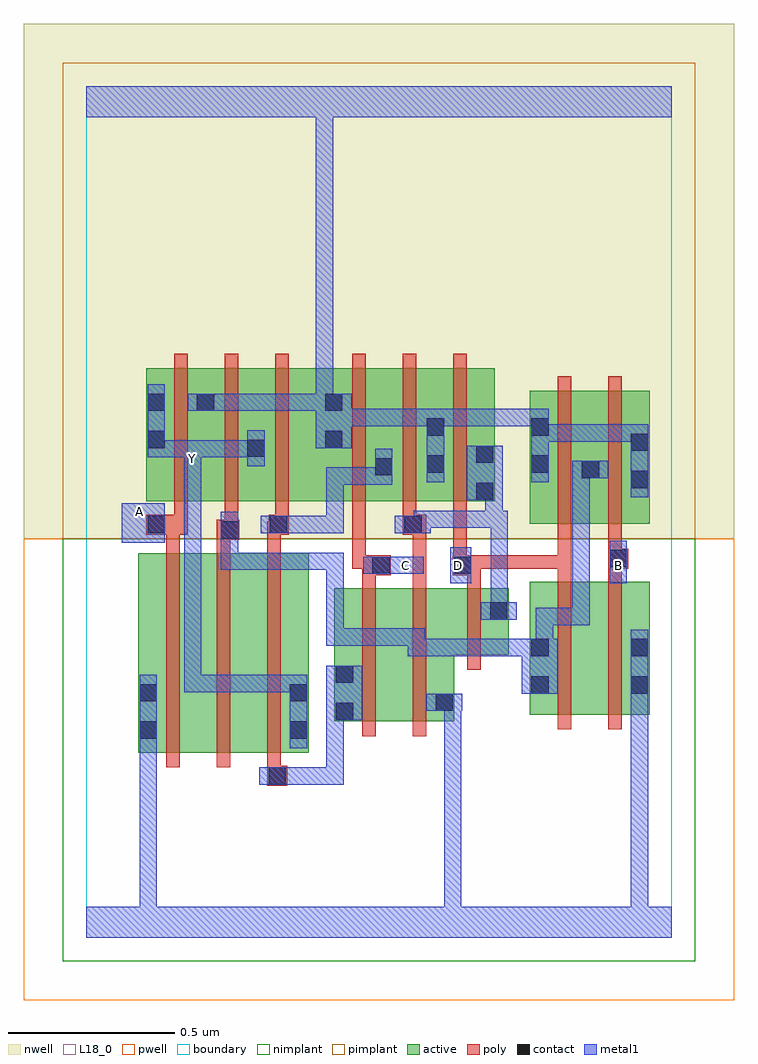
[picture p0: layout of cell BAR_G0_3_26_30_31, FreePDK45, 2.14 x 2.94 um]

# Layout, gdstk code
import gdstk
lib = gdstk.Library(unit=1e-6, precision=1e-09)
def R(c, l, rs):  # rectangles x0, y0, x1, y1
    for r in rs: c.add(gdstk.rectangle(r[:2], r[2:], *l))
def A(c, l, x, y, w, h, nx, ny, dx, dy):  # array of equal rectangles
    R(c, l, [(x+i*dx, y+j*dy, x+i*dx+w, y+j*dy+h) for i in range(nx) for j in range(ny)])
active = (1, 0)
pwell = (2, 0)
nwell = (3, 0)
nimplant = (4, 0)
pimplant = (5, 0)
poly = (9, 0)
contact = (10, 0)
metal1 = (11, 0)
L18_0 = (18, 0)
boundary = (235, 0)

bar_g0_3_26_30_31 = lib.new_cell('BAR_G0_3_26_30_31')
R(bar_g0_3_26_30_31, active, [(0.156,0.556,0.216,1.156), (0.156,0.556,0.336,1.156), (0.336,0.556,0.488,1.156), (0.488,0.556,0.668,1.156), (0.608,0.556,0.668,1.156), (0.746,0.65,0.806,1.05), (0.746,0.65,0.926,1.05), (0.926,0.65,1.106,1.05), (1.046,0.65,1.106,0.956), (1.334,0.67,1.394,1.07), (1.334,0.67,1.514,1.07), (1.514,0.67,1.694,1.07), (1.634,0.67,1.694,1.07), (1.046,0.85,1.27,1.05), (1.21,0.87,1.27,1.05), (1.334,1.244,1.394,1.644), (1.334,1.244,1.546,1.644), (1.486,1.244,1.546,1.644), (1.486,1.244,1.694,1.644), (1.634,1.244,1.694,1.644), (0.18,1.312,0.388,1.712), (0.18,1.312,0.24,1.644), (0.328,1.312,0.54,1.712), (0.48,1.312,0.54,1.644), (0.48,1.312,0.774,1.712), (0.714,1.312,0.924,1.712), (0.864,1.312,1.08,1.712), (1.02,1.312,1.228,1.712), (1.168,1.312,1.228,1.644), (0.864,1.338,0.924,1.644), (1.02,1.338,1.08,1.644), (0.328,1.344,0.388,1.644), (0.714,1.344,0.774,1.696)])
R(bar_g0_3_26_30_31, pwell, [(-0.188,-0.188,1.948,1.2)])
R(bar_g0_3_26_30_31, nwell, [(-0.188,1.2,1.948,2.748)])
R(bar_g0_3_26_30_31, nimplant, [(-0.072,-0.072,1.832,1.2)])
R(bar_g0_3_26_30_31, pimplant, [(-0.072,1.2,1.832,2.632)])
A(bar_g0_3_26_30_31, poly, 0.24, 0.512, 0.04, 0.688, 3, 1, 0.152, 0)
A(bar_g0_3_26_30_31, poly, 0.264, 1.268, 0.04, 0.488, 3, 1, 0.152, 0)
A(bar_g0_3_26_30_31, poly, 0.8, 1.268, 0.04, 0.488, 3, 1, 0.152, 0)
R(bar_g0_3_26_30_31, poly, [(0.544,0.456,0.604,0.516), (0.544,0.476,0.584,0.552), (0.83,0.606,0.87,1.094), (0.982,0.606,1.022,1.094), (1.418,0.626,1.458,1.114), (1.57,0.626,1.61,1.114), (1.146,0.806,1.186,1.094), (0.83,1.054,0.87,1.13), (0.982,1.054,1.022,1.252), (1.146,1.054,1.186,1.13), (1.418,1.074,1.458,1.15), (1.57,1.074,1.61,1.15), (0.83,1.09,0.916,1.15), (1.102,1.09,1.186,1.15), (0.8,1.11,0.84,1.308), (0.8,1.11,0.87,1.15), (0.83,1.11,0.87,1.15), (1.104,1.11,1.144,1.15), (1.104,1.11,1.144,1.15), (1.104,1.11,1.144,1.308), (1.146,1.11,1.186,1.15), (1.146,1.11,1.186,1.15), (1.146,1.11,1.458,1.15), (1.418,1.11,1.458,1.15), (1.418,1.11,1.458,1.15), (1.418,1.11,1.458,1.15), (1.418,1.11,1.458,1.15), (1.418,1.11,1.458,1.15), (1.418,1.11,1.458,1.24), (1.57,1.11,1.61,1.15), (1.57,1.11,1.61,1.15), (1.57,1.11,1.63,1.17), (1.57,1.13,1.61,1.24), (0.24,1.16,0.28,1.252), (0.392,1.16,0.432,1.236), (0.544,1.16,0.584,1.252), (0.392,1.196,0.46,1.256), (1.418,1.2,1.458,1.688), (1.57,1.2,1.61,1.688), (0.18,1.212,0.304,1.272), (0.24,1.212,0.28,1.252), (0.24,1.212,0.28,1.252), (0.544,1.212,0.588,1.252), (0.548,1.212,0.588,1.252), (0.548,1.212,0.608,1.272), (0.952,1.212,1.022,1.272), (0.982,1.212,1.022,1.252), (0.982,1.212,1.022,1.252), (0.416,1.216,0.456,1.256), (0.416,1.216,0.456,1.256), (0.416,1.216,0.456,1.308), (0.264,1.232,0.304,1.308), (0.568,1.232,0.608,1.308), (0.952,1.232,0.992,1.308)])
R(bar_g0_3_26_30_31, contact, [(0.548,0.46,0.6,0.512), (0.16,0.598,0.212,0.65), (0.612,0.598,0.664,0.65), (0.75,0.654,0.802,0.706), (1.05,0.682,1.102,0.734), (0.16,0.71,0.212,0.762), (0.612,0.71,0.664,0.762), (1.338,0.734,1.39,0.786), (1.638,0.734,1.69,0.786), (0.75,0.766,0.802,0.818), (1.338,0.846,1.39,0.898), (1.638,0.846,1.69,0.898), (1.214,0.956,1.266,1.008), (0.86,1.094,0.912,1.146), (1.106,1.094,1.158,1.146), (1.574,1.114,1.626,1.166), (0.404,1.2,0.456,1.252), (0.184,1.216,0.236,1.268), (0.552,1.216,0.604,1.268), (0.956,1.216,1.008,1.268), (1.172,1.316,1.224,1.368), (1.638,1.352,1.69,1.404), (1.49,1.382,1.542,1.434), (0.868,1.39,0.92,1.442), (1.024,1.398,1.076,1.45), (1.338,1.398,1.39,1.45), (1.172,1.428,1.224,1.48), (0.484,1.446,0.536,1.498), (1.638,1.464,1.69,1.516), (0.184,1.472,0.236,1.524), (0.718,1.472,0.77,1.524), (1.024,1.51,1.076,1.562), (1.338,1.51,1.39,1.562), (0.184,1.584,0.236,1.636), (0.332,1.584,0.384,1.636), (0.718,1.584,0.77,1.636)])
A(bar_g0_3_26_30_31, metal1, 0.36, 1.584, 0.052, 0.052, 3, 1, 0.11, 0)
A(bar_g0_3_26_30_31, metal1, 0.36, 1.584, 0.162, 0.052, 3, 1, 0.11, 0)
R(bar_g0_3_26_30_31, metal1, [(0,0,1.76,0.092), (0.16,0.04,0.212,0.092), (0.16,0.04,0.212,0.092), (0.16,0.04,0.212,0.622), (1.076,0.04,1.128,0.092), (1.076,0.04,1.128,0.092), (1.076,0.04,1.128,0.092), (1.076,0.04,1.128,0.092), (1.076,0.04,1.128,0.092), (1.076,0.04,1.128,0.092), (1.076,0.04,1.128,0.092), (1.076,0.04,1.128,0.092), (1.076,0.04,1.128,0.092), (1.076,0.04,1.128,0.092), (1.076,0.04,1.128,0.734), (1.638,0.04,1.69,0.092), (1.638,0.04,1.69,0.092), (1.638,0.04,1.69,0.092), (1.638,0.04,1.69,0.092), (1.638,0.04,1.69,0.758), (0.52,0.46,0.628,0.512), (0.576,0.46,0.632,0.512), (0.58,0.46,0.632,0.512), (0.58,0.46,0.774,0.512), (0.722,0.46,0.774,0.512), (0.722,0.46,0.774,0.512), (0.722,0.46,0.774,0.512), (0.722,0.46,0.774,0.512), (0.722,0.46,0.774,0.512), (0.722,0.46,0.774,0.706), (0.16,0.57,0.212,0.622), (0.16,0.57,0.212,0.622), (0.16,0.57,0.212,0.622), (0.16,0.57,0.212,0.622), (0.16,0.57,0.212,0.622), (0.16,0.57,0.212,0.622), (0.16,0.57,0.212,0.79), (0.612,0.57,0.664,0.79), (0.722,0.654,0.83,0.818), (1.022,0.682,1.13,0.734), (1.076,0.682,1.128,0.734), (1.076,0.682,1.128,0.734), (1.638,0.706,1.69,0.758), (1.638,0.706,1.69,0.758), (1.638,0.706,1.69,0.758), (1.638,0.706,1.69,0.758), (1.638,0.706,1.69,0.758), (1.638,0.706,1.69,0.758), (1.638,0.706,1.69,0.758), (1.638,0.706,1.69,0.758), (1.638,0.706,1.69,0.926), (1.31,0.734,1.418,0.898), (0.294,0.738,0.346,0.79), (0.294,0.738,0.346,0.79), (0.294,0.738,0.346,0.79), (0.294,0.738,0.522,0.79), (0.294,0.738,0.346,1.438), (0.47,0.738,0.522,0.79), (0.47,0.738,0.566,0.79), (0.514,0.738,0.566,0.79), (0.514,0.738,0.664,0.79), (0.966,0.846,1.018,0.898), (0.966,0.846,1.238,0.898), (0.966,0.846,1.018,0.93), (1.186,0.846,1.238,0.898), (1.186,0.846,1.238,0.898), (1.186,0.846,1.238,0.898), (1.186,0.846,1.362,0.898), (1.352,0.846,1.404,0.898), (1.352,0.846,1.404,0.898), (1.352,0.846,1.404,0.992), (0.722,0.878,0.774,0.93), (0.722,0.878,0.774,0.93), (0.722,0.878,0.774,0.93), (0.722,0.878,0.908,0.93), (0.722,0.878,0.774,1.158), (0.856,0.878,0.908,0.93), (0.856,0.878,1.018,0.93), (0.966,0.878,1.018,0.93), (0.966,0.878,1.018,0.93), (0.966,0.878,1.018,0.93), (1.352,0.94,1.404,0.992), (1.352,0.94,1.404,0.992), (1.352,0.94,1.404,0.992), (1.352,0.94,1.404,0.992), (1.352,0.94,1.404,0.992), (1.352,0.94,1.514,0.992), (1.462,0.94,1.514,0.992), (1.462,0.94,1.514,1.434), (1.186,0.956,1.294,1.008), (1.216,0.956,1.268,1.284), (1.094,1.066,1.158,1.174), (1.574,1.066,1.626,1.194), (0.832,1.094,1.014,1.146), (0.404,1.106,0.522,1.158), (0.404,1.106,0.456,1.28), (0.47,1.106,0.522,1.158), (0.47,1.106,0.632,1.158), (0.58,1.106,0.632,1.158), (0.58,1.106,0.632,1.158), (0.58,1.106,0.632,1.158), (0.58,1.106,0.774,1.158), (0.722,1.106,0.774,1.158), (0.106,1.188,0.236,1.306), (0.524,1.216,0.632,1.268), (0.58,1.216,0.632,1.268), (0.58,1.216,0.632,1.268), (0.58,1.216,0.774,1.268), (0.722,1.216,0.774,1.268), (0.722,1.216,0.774,1.414), (0.928,1.216,1.036,1.268), (0.984,1.216,1.036,1.268), (0.984,1.216,1.036,1.284), (0.984,1.232,1.252,1.284), (1.2,1.232,1.252,1.284), (1.2,1.232,1.252,1.284), (1.2,1.232,1.252,1.368), (1.2,1.232,1.268,1.284), (1.216,1.232,1.268,1.284), (1.216,1.232,1.268,1.284), (1.144,1.316,1.252,1.48), (1.638,1.324,1.69,1.544), (0.722,1.362,0.774,1.414), (0.722,1.362,0.774,1.414), (0.722,1.362,0.774,1.414), (0.722,1.362,0.92,1.414), (0.868,1.362,0.92,1.47), (1.024,1.37,1.076,1.59), (1.338,1.37,1.39,1.59), (1.462,1.382,1.57,1.434), (0.294,1.386,0.346,1.494), (0.484,1.418,0.536,1.526), (0.294,1.442,0.346,1.494), (0.294,1.442,0.346,1.494), (0.294,1.442,0.346,1.496), (0.184,1.444,0.236,1.496), (0.184,1.444,0.236,1.496), (0.184,1.444,0.236,1.664), (0.184,1.444,0.346,1.496), (0.294,1.444,0.346,1.496), (0.294,1.444,0.346,1.496), (0.294,1.444,0.346,1.496), (0.294,1.444,0.536,1.496), (0.69,1.472,0.798,1.636), (1.338,1.492,1.514,1.544), (1.462,1.492,1.514,1.544), (1.462,1.492,1.514,1.544), (1.462,1.492,1.514,1.544), (1.462,1.492,1.69,1.544), (1.638,1.492,1.69,1.544), (1.638,1.492,1.69,1.544), (0.746,1.538,0.798,1.59), (0.746,1.538,0.798,1.59), (0.746,1.538,0.908,1.59), (0.856,1.538,0.908,1.59), (0.856,1.538,0.908,1.59), (0.856,1.538,0.908,1.59), (0.856,1.538,1.076,1.59), (1.024,1.538,1.186,1.59), (1.134,1.538,1.186,1.59), (1.134,1.538,1.186,1.59), (1.134,1.538,1.186,1.59), (1.134,1.538,1.39,1.59), (0.304,1.584,0.412,1.636), (0.36,1.584,0.412,1.636), (0.58,1.584,0.632,1.636), (0.58,1.584,0.632,1.636), (0.69,1.584,0.742,1.636), (0.69,1.584,0.742,1.636), (0.69,1.584,0.742,1.636), (0.69,1.584,0.742,1.636), (0.69,1.584,0.742,2.52), (0,2.468,1.76,2.56), (0.69,2.468,0.742,2.52), (0.69,2.468,0.742,2.52), (0.69,2.468,0.742,2.52), (0.69,2.468,0.742,2.52), (0.69,2.468,0.742,2.52), (0.69,2.468,0.742,2.52), (0.69,2.468,0.742,2.52), (0.69,2.468,0.742,2.52), (0.69,2.468,0.742,2.52), (0.69,2.468,0.742,2.52), (0.69,2.468,0.742,2.52), (0.69,2.468,0.742,2.52)])
A(bar_g0_3_26_30_31, L18_0, 0.36, 1.584, 0.052, 0.052, 3, 1, 0.11, 0)
A(bar_g0_3_26_30_31, L18_0, 0.36, 1.584, 0.162, 0.052, 3, 1, 0.11, 0)
R(bar_g0_3_26_30_31, L18_0, [(0,0,1.76,0.092), (0.16,0.04,0.212,0.092), (0.16,0.04,0.212,0.092), (0.16,0.04,0.212,0.622), (1.076,0.04,1.128,0.092), (1.076,0.04,1.128,0.092), (1.076,0.04,1.128,0.092), (1.076,0.04,1.128,0.092), (1.076,0.04,1.128,0.092), (1.076,0.04,1.128,0.092), (1.076,0.04,1.128,0.092), (1.076,0.04,1.128,0.092), (1.076,0.04,1.128,0.092), (1.076,0.04,1.128,0.092), (1.076,0.04,1.128,0.734), (1.638,0.04,1.69,0.092), (1.638,0.04,1.69,0.092), (1.638,0.04,1.69,0.092), (1.638,0.04,1.69,0.092), (1.638,0.04,1.69,0.758), (0.16,0.57,0.212,0.622), (0.16,0.57,0.212,0.622), (0.16,0.57,0.212,0.622), (0.16,0.57,0.212,0.622), (0.16,0.57,0.212,0.622), (0.16,0.57,0.212,0.622), (0.16,0.57,0.212,0.79), (0.612,0.57,0.664,0.79), (1.022,0.682,1.13,0.734), (1.076,0.682,1.128,0.734), (1.076,0.682,1.128,0.734), (1.638,0.706,1.69,0.758), (1.638,0.706,1.69,0.758), (1.638,0.706,1.69,0.758), (1.638,0.706,1.69,0.758), (1.638,0.706,1.69,0.758), (1.638,0.706,1.69,0.758), (1.638,0.706,1.69,0.758), (1.638,0.706,1.69,0.758), (1.638,0.706,1.69,0.926), (0.294,0.738,0.346,0.79), (0.294,0.738,0.346,0.79), (0.294,0.738,0.346,0.79), (0.294,0.738,0.346,1.438), (0.294,0.738,0.522,0.79), (0.47,0.738,0.522,0.79), (0.47,0.738,0.566,0.79), (0.514,0.738,0.566,0.79), (0.514,0.738,0.664,0.79), (1.094,1.066,1.158,1.174), (1.574,1.066,1.626,1.194), (0.832,1.094,1.014,1.146), (0.934,1.094,0.986,1.146), (1.094,1.094,1.146,1.146), (1.574,1.094,1.626,1.146), (0.106,1.188,0.236,1.306), (0.134,1.254,0.186,1.306), (1.638,1.324,1.69,1.544), (1.024,1.37,1.076,1.59), (1.338,1.37,1.39,1.59), (0.294,1.386,0.346,1.494), (0.294,1.414,0.346,1.466), (0.484,1.418,0.536,1.526), (0.294,1.442,0.346,1.494), (0.294,1.442,0.346,1.494), (0.294,1.442,0.346,1.496), (0.184,1.444,0.236,1.496), (0.184,1.444,0.236,1.496), (0.184,1.444,0.236,1.664), (0.184,1.444,0.346,1.496), (0.294,1.444,0.346,1.496), (0.294,1.444,0.346,1.496), (0.294,1.444,0.346,1.496), (0.294,1.444,0.536,1.496), (0.69,1.472,0.798,1.636), (1.338,1.492,1.514,1.544), (1.462,1.492,1.514,1.544), (1.462,1.492,1.514,1.544), (1.462,1.492,1.514,1.544), (1.462,1.492,1.69,1.544), (1.638,1.492,1.69,1.544), (1.638,1.492,1.69,1.544), (0.746,1.538,0.798,1.59), (0.746,1.538,0.798,1.59), (0.746,1.538,0.908,1.59), (0.856,1.538,0.908,1.59), (0.856,1.538,0.908,1.59), (0.856,1.538,0.908,1.59), (0.856,1.538,1.076,1.59), (1.024,1.538,1.186,1.59), (1.134,1.538,1.186,1.59), (1.134,1.538,1.186,1.59), (1.134,1.538,1.186,1.59), (1.134,1.538,1.39,1.59), (0.304,1.584,0.412,1.636), (0.36,1.584,0.412,1.636), (0.58,1.584,0.632,1.636), (0.58,1.584,0.632,1.636), (0.69,1.584,0.742,1.636), (0.69,1.584,0.742,1.636), (0.69,1.584,0.742,1.636), (0.69,1.584,0.742,1.636), (0.69,1.584,0.742,2.52), (0,2.468,1.76,2.56), (0.69,2.468,0.742,2.52), (0.69,2.468,0.742,2.52), (0.69,2.468,0.742,2.52), (0.69,2.468,0.742,2.52), (0.69,2.468,0.742,2.52), (0.69,2.468,0.742,2.52), (0.69,2.468,0.742,2.52), (0.69,2.468,0.742,2.52), (0.69,2.468,0.742,2.52), (0.69,2.468,0.742,2.52), (0.69,2.468,0.742,2.52), (0.69,2.468,0.742,2.52)])
R(bar_g0_3_26_30_31, boundary, [(0,0,1.76,2.56)])
bar_g0_3_26_30_31.add(gdstk.Label('A', (0.16,1.28), layer=11, texttype=0))
bar_g0_3_26_30_31.add(gdstk.Label('B', (1.6,1.12), layer=11, texttype=0))
bar_g0_3_26_30_31.add(gdstk.Label('C', (0.96,1.12), layer=11, texttype=0))
bar_g0_3_26_30_31.add(gdstk.Label('D', (1.12,1.12), layer=11, texttype=0))
bar_g0_3_26_30_31.add(gdstk.Label('Y', (0.32,1.44), layer=11, texttype=0))

lib.write_gds('BAR_G0_3_26_30_31.gds')
